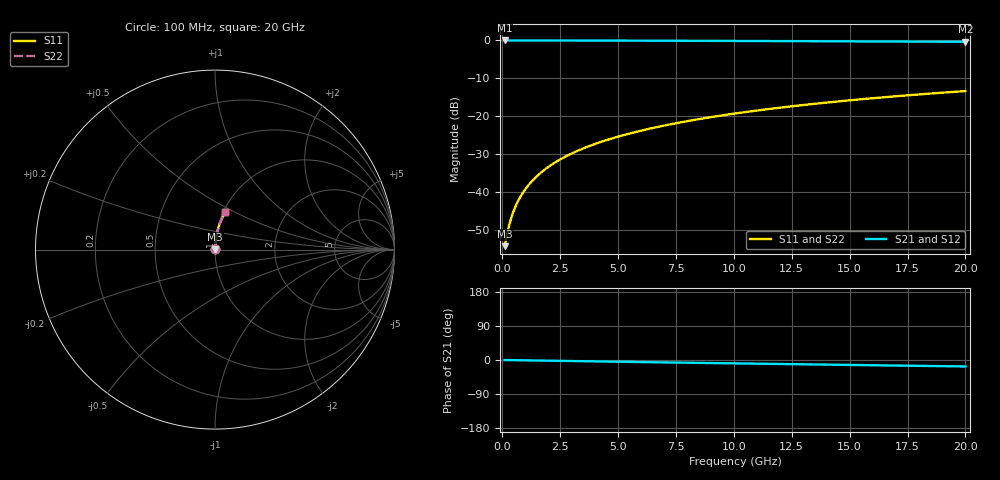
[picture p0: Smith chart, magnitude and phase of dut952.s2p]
! Touchstone file exported from HFSS 2024.1.0
!  File:  C:/UserFiles/LocalFiles/RDL_TSV_Batchsim/temp_RDL_top_952_1779938083.aedt
!  Generated:  11:17:00 AM May 28, 2026
!  Design:  RDL_top
!  Project:  temp_RDL_top_952_1779938083
!  Setup:  Setup1
!  Solution:  Sweep
! Variables:
!  dtsv = 10.80580581um
!  hbump = 3um
!  htsv = 90.09um
!  ldown = 100um
!  lrdl = 196.64um
!  p = 40
!  p1 = 42.41um
!  rhole = 1um
!  t = 450um
!  tdown = 3.915915916um
!  trdl = 3.98um
!  wdown = 15.38538539um
!  wrdl = 12.07um
# GHz S MA R 50.000000
! Terminal data exported
! Port[1] = Box2_T1
! Port[2] = Box2_T2
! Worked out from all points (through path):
!   200 points, 100 MHz to 20 GHz, reference 50 ohm
!   highest |S21| = -0.01 dB at 100 MHz (marker M1); lowest = -0.4 dB at 20 GHz (marker M2)
!   group delay of S21, straight-line fit = 2.36 ps
!   lowest |S11| = -54.3 dB at 100 MHz (marker M3), VSWR 1.00, Z = 50.2 + j0.112 ohm
!   |S11| at or under -10 dB: start of sweep to end of sweep
!   |S22| runs from -54.3 to -13.4 dB; largest |S21 - S12| = 3.1e-15
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0.1  0.001935 35.2  0.9984 -0.1  0.9984 -0.1  0.001935 35.2
! Gamma 0 0 0 0
! Port Impedance 50 0 50 0
0.2  0.002744 54.1  0.9984 -0.2  0.9984 -0.2  0.002744 54.1
0.3  0.003702 63.6  0.9983 -0.3  0.9983 -0.3  0.003702 63.6
0.4  0.004709 69.1  0.9983 -0.4  0.9983 -0.4  0.00471 69.1
0.5  0.005736 72.6  0.9983 -0.5  0.9983 -0.5  0.005736 72.6
0.6  0.006772 75.0  0.9982 -0.6  0.9982 -0.6  0.006772 75.0
0.8  0.008861 78.2  0.9981 -0.7  0.9981 -0.7  0.008861 78.2
1.1  0.01202 80.8  0.998 -1.0  0.998 -1.0  0.01202 80.8
1.5  0.01626 82.7  0.9978 -1.4  0.9978 -1.4  0.01626 82.7
1.8  0.01946 83.6  0.9976 -1.7  0.9976 -1.7  0.01946 83.6
2.1  0.02266 84.1  0.9974 -1.9  0.9974 -1.9  0.02266 84.1
2.7  0.02909 84.7  0.9968 -2.5  0.9968 -2.5  0.02909 84.7
3.5  0.03767 85.0  0.9959 -3.2  0.9959 -3.2  0.03767 85.0
4.2  0.0452 85.0  0.995 -3.9  0.995 -3.9  0.0452 85.0
5  0.05382 84.8  0.9938 -4.6  0.9938 -4.6  0.05382 84.8
5.9  0.06355 84.5  0.9923 -5.4  0.9923 -5.4  0.06355 84.5
6.8  0.0733 84.1  0.9907 -6.2  0.9907 -6.2  0.07329 84.1
8.3  0.08959 83.2  0.9877 -7.5  0.9877 -7.5  0.08959 83.2
10.1  0.1092 82.1  0.9838 -9.0  0.9838 -9.0  0.1092 82.1
13.4  0.145 79.7  0.9761 -11.7  0.9761 -11.7  0.145 79.7
16.7  0.1804 77.2  0.9677 -14.4  0.9677 -14.4  0.1804 77.2
20  0.2149 74.6  0.9586 -17.0  0.9586 -17.0  0.2149 74.6
